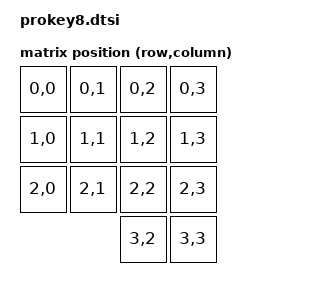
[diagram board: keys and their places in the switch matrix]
#include <dt-bindings/zmk/matrix_transform.h>
#include <physical_layouts.dtsi>

/ {
    chosen {
        zmk,kscan = &kscan0;
        zmk,physical-layout = &default_layout;
    };

    kscan0: kscan_0 {
        compatible = "zmk,kscan-gpio-matrix";
        diode-direction = "col2row";
        wakeup-source;
    };

    default_layout: default_layout {
        compatible = "zmk,physical-layout";
        display-name = "Default Layout";
        transform = <&default_transform>;

        keys  //                     w   h    x    y     rot    rx    ry
            = <&key_physical_attrs 100 100    0   60       0     50     50> // pinky bottom
            , <&key_physical_attrs 100 100  100   30       0     50     50> // ring bottom
            , <&key_physical_attrs 100 100  200    0       0     50     50> // middle bottom
            , <&key_physical_attrs 100 100  300   20       0     50     50> // index bottom

            , <&key_physical_attrs 100 100  400   160       0     0     50>
            , <&key_physical_attrs 100 100  750   130       0     50     50>
            , <&key_physical_attrs 100 100  850   100       0     50     50>
            , <&key_physical_attrs 100 100  950   120       0     50     50>

            , <&key_physical_attrs 100 100 1050   260       0     50     50>
            , <&key_physical_attrs 100 100 1150   230       0     50     50>
            , <&key_physical_attrs 100 100    0  200       0     50     50>
            , <&key_physical_attrs 100 100  100  220       0     50     50>

            , <&key_physical_attrs 100 100  220  (-80)       -5     50     50>
            , <&key_physical_attrs 150 100  340  (-100)       90     75     50>
    };

    default_transform: keymap_transform_0 {
        compatible = "zmk,matrix-transform";
        columns = <4>;
        rows = <4>;

        map = <
            RC(0,0)         RC(0,1)         RC(0,2)         RC(0,3)         
            RC(1,0)         RC(1,1)         RC(1,2)         RC(1,3)         
            RC(2,0)         RC(2,1)         RC(2,2)         RC(2,3)         
                                            RC(3,2)         RC(3,3)
        >;
    };
};

&xiao_serial {
    status = "disabled";
};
